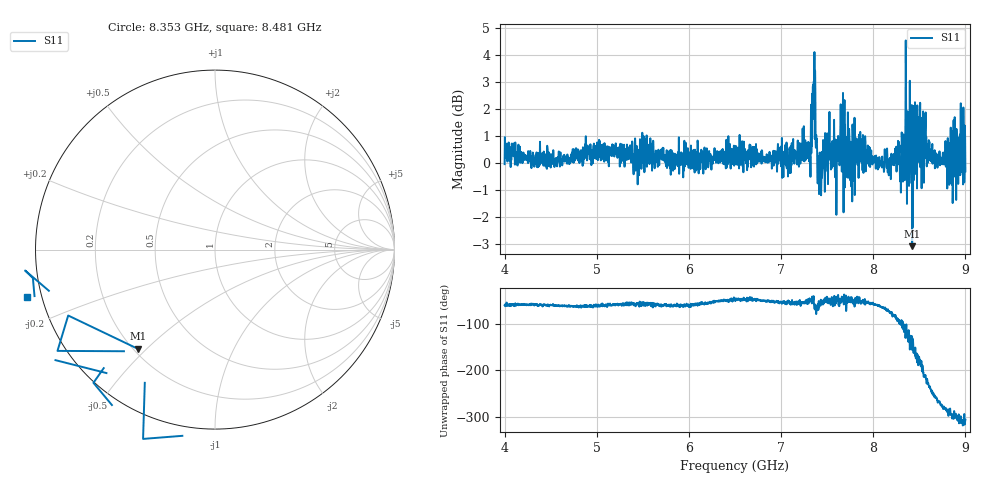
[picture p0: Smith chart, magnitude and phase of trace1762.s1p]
! Created with skrf 1.8.0 (http://scikit-rf.org).
# Hz S RI R 50.0
!freq ReS11 ImS11
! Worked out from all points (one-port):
!   1601 points, 4 GHz to 9 GHz, reference 50 ohm
!   lowest |S11| = -3.1 dB at 8.422 GHz (marker M1), VSWR 5.68, Z = 10.8 - j23.5 ohm
!   |S11| at or under -10 dB: nowhere
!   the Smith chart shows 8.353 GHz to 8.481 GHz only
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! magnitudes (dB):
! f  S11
! 4 GHz  -0.1
! 4.625 GHz  -0.1
! 5.25 GHz  -0.1
! 5.875 GHz  0.3
! 6.5 GHz  0.0
! 7.125 GHz  0.5
! 7.294 GHz  0.2
! 7.316 GHz  0.2
! 7.347 GHz  2.9
! 7.366 GHz  0.9
! 7.391 GHz  0.5
! 7.419 GHz  0.4
! 7.512 GHz  0.8
! 7.609 GHz  0.1
! 7.65 GHz  1.4
! 7.75 GHz  -0.6
! 7.844 GHz  0.3
! 8.316 GHz  0.1
! 8.334 GHz  0.5
! 8.375 GHz  1.0
! 8.394 GHz  0.3
! 8.406 GHz  1.2
! 8.422 GHz  -3.1
! 8.553 GHz  0.4
! 8.606 GHz  0.4
! 8.841 GHz  1.3
! 8.956 GHz  0.0
! 9 GHz  -0.3
